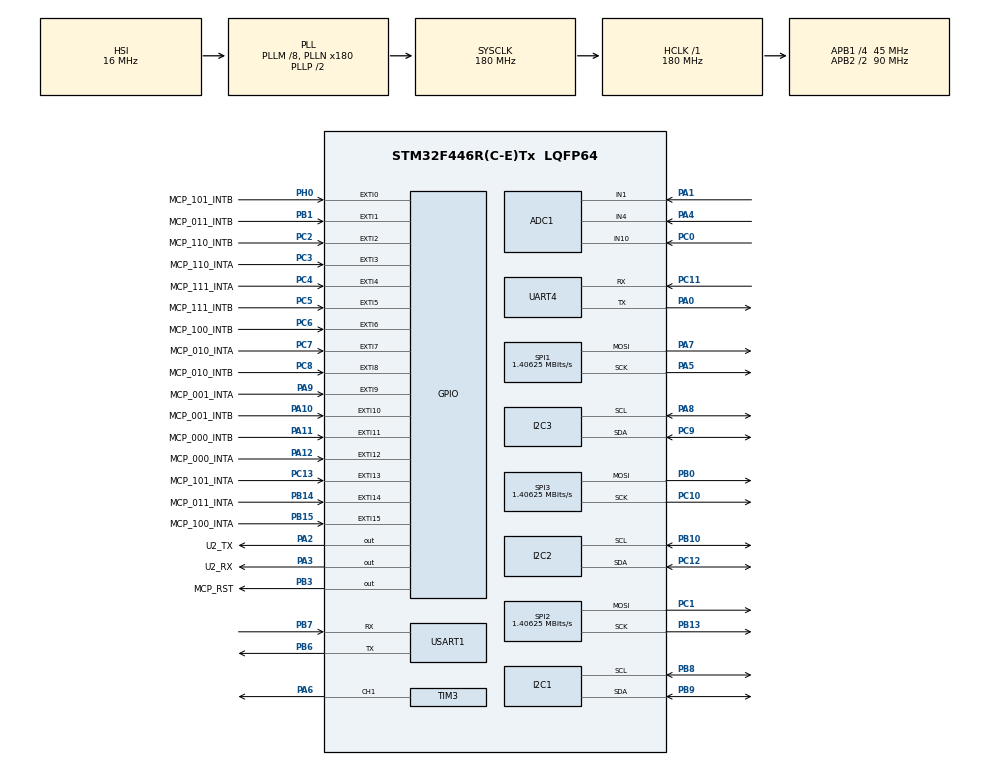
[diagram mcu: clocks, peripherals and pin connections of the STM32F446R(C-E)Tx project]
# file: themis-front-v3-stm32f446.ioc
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ADC1.Channel-2\#ChannelRegularConversion=ADC_CHANNEL_1
ADC1.NbrOfConversionFlag=1
ADC1.Rank-2\#ChannelRegularConversion=1
ADC1.SamplingTime-2\#ChannelRegularConversion=ADC_SAMPLETIME_3CYCLES
ADC1.master=1
Dma.Request0=SPI1_TX
Dma.Request1=SPI2_TX
Dma.Request2=SPI3_TX
Dma.Request3=USART1_TX
Dma.SPI1_TX.0.Direction=DMA_MEMORY_TO_PERIPH
Dma.SPI1_TX.0.FIFOMode=DMA_FIFOMODE_DISABLE
Dma.SPI1_TX.0.Instance=DMA2_Stream3
Dma.SPI1_TX.0.MemDataAlignment=DMA_MDATAALIGN_BYTE
Dma.SPI1_TX.0.MemInc=DMA_MINC_ENABLE
Dma.SPI1_TX.0.Mode=DMA_NORMAL
Dma.SPI1_TX.0.PeriphDataAlignment=DMA_PDATAALIGN_BYTE
Dma.SPI1_TX.0.PeriphInc=DMA_PINC_DISABLE
Dma.SPI1_TX.0.Priority=DMA_PRIORITY_LOW
Dma.SPI2_TX.1.Direction=DMA_MEMORY_TO_PERIPH
Dma.SPI2_TX.1.FIFOMode=DMA_FIFOMODE_DISABLE
Dma.SPI2_TX.1.Instance=DMA1_Stream4
Dma.SPI2_TX.1.MemDataAlignment=DMA_MDATAALIGN_BYTE
Dma.SPI2_TX.1.MemInc=DMA_MINC_ENABLE
Dma.SPI2_TX.1.Mode=DMA_NORMAL
Dma.SPI2_TX.1.PeriphDataAlignment=DMA_PDATAALIGN_BYTE
Dma.SPI2_TX.1.PeriphInc=DMA_PINC_DISABLE
Dma.SPI2_TX.1.Priority=DMA_PRIORITY_LOW
Dma.SPI3_TX.2.Direction=DMA_MEMORY_TO_PERIPH
Dma.SPI3_TX.2.FIFOMode=DMA_FIFOMODE_DISABLE
Dma.SPI3_TX.2.Instance=DMA1_Stream5
Dma.SPI3_TX.2.MemDataAlignment=DMA_MDATAALIGN_BYTE
Dma.SPI3_TX.2.MemInc=DMA_MINC_ENABLE
Dma.SPI3_TX.2.Mode=DMA_NORMAL
Dma.SPI3_TX.2.PeriphDataAlignment=DMA_PDATAALIGN_BYTE
Dma.SPI3_TX.2.PeriphInc=DMA_PINC_DISABLE
Dma.SPI3_TX.2.Priority=DMA_PRIORITY_LOW
Dma.USART1_TX.3.Direction=DMA_MEMORY_TO_PERIPH
Dma.USART1_TX.3.FIFOMode=DMA_FIFOMODE_DISABLE
Dma.USART1_TX.3.Instance=DMA2_Stream7
Dma.USART1_TX.3.MemDataAlignment=DMA_MDATAALIGN_BYTE
Dma.USART1_TX.3.MemInc=DMA_MINC_ENABLE
Dma.USART1_TX.3.Mode=DMA_NORMAL
Dma.USART1_TX.3.PeriphDataAlignment=DMA_PDATAALIGN_BYTE
Dma.USART1_TX.3.PeriphInc=DMA_PINC_DISABLE
Dma.USART1_TX.3.Priority=DMA_PRIORITY_LOW
I2C1.I2C_Mode=I2C_Standard
Mcu.Family=STM32F4
Mcu.Name=STM32F446R(C-E)Tx
Mcu.Package=LQFP64
NVIC.DMA1_Stream4_IRQn=true\:0\:0\:false\:false\:true\:false\:true\:true
NVIC.DMA1_Stream5_IRQn=true\:0\:0\:false\:false\:true\:false\:true\:true
NVIC.DMA2_Stream3_IRQn=true\:0\:0\:false\:false\:true\:false\:true\:true
NVIC.DMA2_Stream7_IRQn=true\:0\:0\:false\:false\:true\:false\:true\:true
NVIC.EXTI0_IRQn=true\:0\:0\:false\:false\:true\:true\:false\:true
NVIC.EXTI15_10_IRQn=true\:0\:0\:false\:false\:true\:true\:false\:true
NVIC.EXTI1_IRQn=true\:0\:0\:false\:false\:true\:true\:false\:true
NVIC.EXTI2_IRQn=true\:0\:0\:false\:false\:true\:true\:false\:true
NVIC.EXTI3_IRQn=true\:0\:0\:false\:false\:true\:true\:false\:true
NVIC.EXTI4_IRQn=true\:0\:0\:false\:false\:true\:true\:false\:true
NVIC.EXTI9_5_IRQn=true\:0\:0\:false\:false\:true\:true\:false\:true
NVIC.PriorityGroup=NVIC_PRIORITYGROUP_4
NVIC.TIM3_IRQn=true\:0\:0\:false\:false\:true\:true\:true\:true
NVIC.UART4_IRQn=true\:0\:0\:false\:false\:true\:true\:true\:true
NVIC.USART1_IRQn=true\:0\:0\:false\:false\:true\:true\:true\:true
PA0-WKUP.Mode=Asynchronous
PA0-WKUP.Signal=UART4_TX
PA1.Signal=ADCx_IN1
PA10.GPIO_Label=MCP_001_INTB
PA10.GPIO_ModeDefaultEXTI=GPIO_MODE_IT_FALLING
PA10.GPIO_PuPd=GPIO_PULLUP
PA10.Signal=GPXTI10
PA11.GPIO_Label=MCP_000_INTB
PA11.GPIO_ModeDefaultEXTI=GPIO_MODE_IT_FALLING
PA11.GPIO_PuPd=GPIO_PULLUP
PA11.Signal=GPXTI11
PA12.GPIO_Label=MCP_000_INTA
PA12.GPIO_ModeDefaultEXTI=GPIO_MODE_IT_FALLING
PA12.GPIO_PuPd=GPIO_PULLUP
PA12.Signal=GPXTI12
PA13.Mode=Serial_Wire
PA13.Signal=SYS_JTMS-SWDIO
PA14.Mode=Serial_Wire
PA14.Signal=SYS_JTCK-SWCLK
PA2.GPIO_Label=U2_TX
PA2.Signal=GPIO_Output
PA3.GPIO_Label=U2_RX
PA3.Signal=GPIO_Output
PA4.Signal=ADCx_IN4
PA5.Mode=TX_Only_Simplex_Unidirect_Master
PA5.Signal=SPI1_SCK
PA6.Signal=S_TIM3_CH1
PA7.Mode=TX_Only_Simplex_Unidirect_Master
PA7.Signal=SPI1_MOSI
PA8.GPIO_Pu=GPIO_PULLUP
PA8.Mode=I2C
PA8.Signal=I2C3_SCL
PA9.GPIO_Label=MCP_001_INTA
PA9.GPIO_ModeDefaultEXTI=GPIO_MODE_IT_FALLING
PA9.GPIO_PuPd=GPIO_PULLUP
PA9.Signal=GPXTI9
PB0.Mode=TX_Only_Simplex_Unidirect_Master
PB0.Signal=SPI3_MOSI
PB1.GPIO_Label=MCP_011_INTB
PB1.GPIO_ModeDefaultEXTI=GPIO_MODE_IT_FALLING
PB1.GPIO_PuPd=GPIO_PULLUP
PB1.Signal=GPXTI1
PB10.GPIO_Pu=GPIO_PULLUP
PB10.Mode=I2C
PB10.Signal=I2C2_SCL
PB13.Mode=TX_Only_Simplex_Unidirect_Master
PB13.Signal=SPI2_SCK
PB14.GPIO_Label=MCP_011_INTA
PB14.GPIO_ModeDefaultEXTI=GPIO_MODE_IT_FALLING
PB14.GPIO_PuPd=GPIO_PULLUP
PB14.Signal=GPXTI14
PB15.GPIO_Label=MCP_100_INTA
PB15.GPIO_ModeDefaultEXTI=GPIO_MODE_IT_FALLING
PB15.GPIO_PuPd=GPIO_PULLUP
PB15.Signal=GPXTI15
PB3.GPIO_Label=MCP_RST
PB3.Signal=GPIO_Output
PB6.Mode=Asynchronous
PB6.Signal=USART1_TX
PB7.Mode=Asynchronous
PB7.Signal=USART1_RX
PB8.GPIO_Pu=GPIO_PULLUP
PB8.Mode=I2C
PB8.Signal=I2C1_SCL
PB9.GPIO_Pu=GPIO_PULLUP
PB9.Mode=I2C
PB9.Signal=I2C1_SDA
PC0.Signal=ADCx_IN10
PC1.Mode=TX_Only_Simplex_Unidirect_Master
PC1.Signal=SPI2_MOSI
PC10.Mode=TX_Only_Simplex_Unidirect_Master
PC10.Signal=SPI3_SCK
PC11.Mode=Asynchronous
PC11.Signal=UART4_RX
PC12.GPIO_Pu=GPIO_PULLUP
PC12.Mode=I2C
PC12.Signal=I2C2_SDA
PC13.GPIO_Label=MCP_101_INTA
PC13.GPIO_ModeDefaultEXTI=GPIO_MODE_IT_FALLING
PC13.GPIO_PuPd=GPIO_PULLUP
PC13.Signal=GPXTI13
PC2.GPIO_Label=MCP_110_INTB
PC2.GPIO_ModeDefaultEXTI=GPIO_MODE_IT_FALLING
PC2.GPIO_PuPd=GPIO_PULLUP
PC2.Signal=GPXTI2
PC3.GPIO_Label=MCP_110_INTA
PC3.GPIO_ModeDefaultEXTI=GPIO_MODE_IT_FALLING
PC3.GPIO_PuPd=GPIO_PULLUP
PC3.Signal=GPXTI3
PC4.GPIO_Label=MCP_111_INTA
PC4.GPIO_ModeDefaultEXTI=GPIO_MODE_IT_FALLING
PC4.GPIO_PuPd=GPIO_PULLUP
PC4.Signal=GPXTI4
PC5.GPIO_Label=MCP_111_INTB
PC5.GPIO_ModeDefaultEXTI=GPIO_MODE_IT_FALLING
PC5.GPIO_PuPd=GPIO_PULLUP
PC5.Signal=GPXTI5
PC6.GPIO_Label=MCP_100_INTB
PC6.GPIO_ModeDefaultEXTI=GPIO_MODE_IT_FALLING
PC6.GPIO_PuPd=GPIO_PULLUP
PC6.Signal=GPXTI6
PC7.GPIO_Label=MCP_010_INTA
PC7.GPIO_ModeDefaultEXTI=GPIO_MODE_IT_FALLING
PC7.GPIO_PuPd=GPIO_PULLUP
PC7.Signal=GPXTI7
PC8.GPIO_Label=MCP_010_INTB
PC8.GPIO_ModeDefaultEXTI=GPIO_MODE_IT_FALLING
PC8.GPIO_PuPd=GPIO_PULLUP
PC8.Signal=GPXTI8
PC9.GPIO_Pu=GPIO_PULLUP
PC9.Mode=I2C
PC9.Signal=I2C3_SDA
PH0-OSC_IN.GPIO_Label=MCP_101_INTB
PH0-OSC_IN.GPIO_ModeDefaultEXTI=GPIO_MODE_IT_FALLING
PH0-OSC_IN.GPIO_PuPd=GPIO_PULLUP
PH0-OSC_IN.Signal=GPXTI0
ProjectManager.HeapSize=0x200
ProjectManager.StackSize=0x400
ProjectManager.TargetToolchain=STM32CubeIDE
RCC.AHBFreq_Value=180000000
RCC.APB1CLKDivider=RCC_HCLK_DIV4
RCC.APB1Freq_Value=45000000
RCC.APB1TimFreq_Value=90000000
RCC.APB2CLKDivider=RCC_HCLK_DIV2
RCC.APB2Freq_Value=90000000
RCC.APB2TimFreq_Value=180000000
RCC.CortexFreq_Value=180000000
RCC.HCLKFreq_Value=180000000
RCC.PLLM=8
RCC.PLLN=180
RCC.SYSCLKFreq_VALUE=180000000
RCC.SYSCLKSource=RCC_SYSCLKSOURCE_PLLCLK
RCC.USBFreq_Value=180000000
RCC.VCOOutputFreq_Value=360000000
SH.ADCx_IN1.0=ADC1_IN1,IN1
SH.ADCx_IN10.0=ADC1_IN10,IN10
SH.ADCx_IN4.0=ADC1_IN4,IN4
SH.S_TIM3_CH1.0=TIM3_CH1,PWM Generation1 CH1
SPI1.BaudRatePrescaler=SPI_BAUDRATEPRESCALER_64
SPI1.CalculateBaudRate=1.40625 MBits/s
SPI1.Direction=SPI_DIRECTION_2LINES
SPI1.Mode=SPI_MODE_MASTER
SPI1.VirtualType=VM_MASTER
SPI2.BaudRatePrescaler=SPI_BAUDRATEPRESCALER_32
SPI2.CalculateBaudRate=1.40625 MBits/s
SPI2.Direction=SPI_DIRECTION_2LINES
SPI2.Mode=SPI_MODE_MASTER
SPI2.VirtualType=VM_MASTER
SPI3.BaudRatePrescaler=SPI_BAUDRATEPRESCALER_32
SPI3.CalculateBaudRate=1.40625 MBits/s
SPI3.Direction=SPI_DIRECTION_2LINES
SPI3.Mode=SPI_MODE_MASTER
SPI3.VirtualType=VM_MASTER
TIM3.Channel-PWM\ Generation1\ CH1=TIM_CHANNEL_1
TIM3.Period=255
TIM3.Prescaler=2343
UART4.VirtualMode=Asynchronous
USART1.VirtualMode=VM_ASYNC
VP_TIM3_VS_ClockSourceINT.Mode=Internal
board=custom

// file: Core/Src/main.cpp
/* USER CODE BEGIN Header */
/**
  ******************************************************************************
  * @file           : main.c
  * @brief          : Main program body
  ******************************************************************************
  * @attention
  *
  * Copyright (c) 2021 STMicroelectronics.
  * All rights reserved.
  *
  * This software is licensed under terms that can be found in the LICENSE file
  * in the root directory of this software component.
  * If no LICENSE file comes with this software, it is provided AS-IS.
  *
  * TODO AFTER CODE REGENERATION: move MX_DMA_Init() on top! (line 140)
  *
  * TODO 27 avril : ajouter les FIFO dans la config du DMA pour les bus SPI
  *
  *
  ******************************************************************************
  */
/* USER CODE END Header */
#include "main.h"

/* USER CODE BEGIN Includes */
#include "stdio.h"
#include "string.h"
#include "front-panel.h"

/* USER CODE END Includes */

ADC_HandleTypeDef hadc1;

I2C_HandleTypeDef hi2c1;
I2C_HandleTypeDef hi2c2;
I2C_HandleTypeDef hi2c3;

SPI_HandleTypeDef hspi1;
SPI_HandleTypeDef hspi2;
SPI_HandleTypeDef hspi3;
DMA_HandleTypeDef hdma_spi1_tx;
DMA_HandleTypeDef hdma_spi2_tx;
DMA_HandleTypeDef hdma_spi3_tx;

TIM_HandleTypeDef htim3;

UART_HandleTypeDef huart4;
UART_HandleTypeDef huart1;
DMA_HandleTypeDef hdma_usart1_tx;

void SystemClock_Config(void);
static void MX_GPIO_Init(void);
static void MX_I2C1_Init(void);
static void MX_I2C2_Init(void);
static void MX_I2C3_Init(void);
static void MX_SPI1_Init(void);
static void MX_TIM3_Init(void);
static void MX_USART1_UART_Init(void);
static void MX_ADC1_Init(void);
static void MX_SPI2_Init(void);
static void MX_SPI3_Init(void);
static void MX_UART4_Init(void);
static void MX_DMA_Init(void);

int main(void)
{

  /* MCU Configuration--------------------------------------------------------*/

  /* Reset of all peripherals, Initializes the Flash interface and the Systick. */
  HAL_Init();

  /* Configure the system clock */
  SystemClock_Config();

  /* USER CODE BEGIN SysInit */

  /*
   * !!! SUPER CRUCIAL : here's the bug fix if DMA not working !!!!
   * For unclear reasons CubeMX generates a buggy code with MX_DMA_Init() at the end
   * So the workaround is simply to edit the code below and move MX_DMA_Init() to the first line
   */

  /* USER CODE END SysInit */

  /* Initialize all configured peripherals */
  MX_DMA_Init();
  MX_GPIO_Init();
  MX_I2C1_Init();
  MX_I2C2_Init();
  MX_I2C3_Init();
  MX_SPI1_Init();
  MX_TIM3_Init();
  MX_USART1_UART_Init();
  MX_ADC1_Init();
  MX_SPI2_Init();
  MX_SPI3_Init();
  MX_UART4_Init();
  /* USER CODE BEGIN 2 */

  HAL_TIM_Base_Start_IT(&htim3); // needed so that HAL_TIM_PeriodElapsedCallback() gets called, see callbacks.c
  HAL_TIM_PWM_Start_IT(&htim3, TIM_CHANNEL_1);
  htim3.Instance->CCR1 = 255;

  init_hardware();
  main_loop();

  /* USER CODE END 2 */

  /* Infinite loop */
  while (1)
  {

    /* USER CODE BEGIN 3 */

	  HAL_Delay(500);
  }
  /* USER CODE END 3 */
}

void SystemClock_Config(void)
{
  RCC_OscInitTypeDef RCC_OscInitStruct = {0};
  RCC_ClkInitTypeDef RCC_ClkInitStruct = {0};

  /** Configure the main internal regulator output voltage
  */
  __HAL_RCC_PWR_CLK_ENABLE();
  __HAL_PWR_VOLTAGESCALING_CONFIG(PWR_REGULATOR_VOLTAGE_SCALE1);

  /** Initializes the RCC Oscillators according to the specified parameters
  * in the RCC_OscInitTypeDef structure.
  */
  RCC_OscInitStruct.OscillatorType = RCC_OSCILLATORTYPE_HSI;
  RCC_OscInitStruct.HSIState = RCC_HSI_ON;
  RCC_OscInitStruct.HSICalibrationValue = RCC_HSICALIBRATION_DEFAULT;
  RCC_OscInitStruct.PLL.PLLState = RCC_PLL_ON;
  RCC_OscInitStruct.PLL.PLLSource = RCC_PLLSOURCE_HSI;
  RCC_OscInitStruct.PLL.PLLM = 8;
  RCC_OscInitStruct.PLL.PLLN = 180;
  RCC_OscInitStruct.PLL.PLLP = RCC_PLLP_DIV2;
  RCC_OscInitStruct.PLL.PLLQ = 2;
  RCC_OscInitStruct.PLL.PLLR = 2;
  if (HAL_RCC_OscConfig(&RCC_OscInitStruct) != HAL_OK)
  {
    Error_Handler();
  }

  /** Activate the Over-Drive mode
  */
  if (HAL_PWREx_EnableOverDrive() != HAL_OK)
  {
    Error_Handler();
  }

  /** Initializes the CPU, AHB and APB buses clocks
  */
  RCC_ClkInitStruct.ClockType = RCC_CLOCKTYPE_HCLK|RCC_CLOCKTYPE_SYSCLK
                              |RCC_CLOCKTYPE_PCLK1|RCC_CLOCKTYPE_PCLK2;
  RCC_ClkInitStruct.SYSCLKSource = RCC_SYSCLKSOURCE_PLLCLK;
  RCC_ClkInitStruct.AHBCLKDivider = RCC_SYSCLK_DIV1;
  RCC_ClkInitStruct.APB1CLKDivider = RCC_HCLK_DIV4;
  RCC_ClkInitStruct.APB2CLKDivider = RCC_HCLK_DIV2;

  if (HAL_RCC_ClockConfig(&RCC_ClkInitStruct, FLASH_LATENCY_5) != HAL_OK)
  {
    Error_Handler();
  }
}

static void MX_ADC1_Init(void)
{

  ADC_ChannelConfTypeDef sConfig = {0};

  /** Configure the global features of the ADC (Clock, Resolution, Data Alignment and number of conversion)
  */
  hadc1.Instance = ADC1;
  hadc1.Init.ClockPrescaler = ADC_CLOCK_SYNC_PCLK_DIV4;
  hadc1.Init.Resolution = ADC_RESOLUTION_12B;
  hadc1.Init.ScanConvMode = DISABLE;
  hadc1.Init.ContinuousConvMode = DISABLE;
  hadc1.Init.DiscontinuousConvMode = DISABLE;
  hadc1.Init.ExternalTrigConvEdge = ADC_EXTERNALTRIGCONVEDGE_NONE;
  hadc1.Init.ExternalTrigConv = ADC_SOFTWARE_START;
  hadc1.Init.DataAlign = ADC_DATAALIGN_RIGHT;
  hadc1.Init.NbrOfConversion = 1;
  hadc1.Init.DMAContinuousRequests = DISABLE;
  hadc1.Init.EOCSelection = ADC_EOC_SINGLE_CONV;
  if (HAL_ADC_Init(&hadc1) != HAL_OK)
  {
    Error_Handler();
  }

  /** Configure for the selected ADC regular channel its corresponding rank in the sequencer and its sample time.
  */
  sConfig.Channel = ADC_CHANNEL_1;
  sConfig.Rank = 1;
  sConfig.SamplingTime = ADC_SAMPLETIME_3CYCLES;
  if (HAL_ADC_ConfigChannel(&hadc1, &sConfig) != HAL_OK)
  {
    Error_Handler();
  }

}

static void MX_I2C1_Init(void)
{

  hi2c1.Instance = I2C1;
  hi2c1.Init.ClockSpeed = 100000;
  hi2c1.Init.DutyCycle = I2C_DUTYCYCLE_2;
  hi2c1.Init.OwnAddress1 = 0;
  hi2c1.Init.AddressingMode = I2C_ADDRESSINGMODE_7BIT;
  hi2c1.Init.DualAddressMode = I2C_DUALADDRESS_DISABLE;
  hi2c1.Init.OwnAddress2 = 0;
  hi2c1.Init.GeneralCallMode = I2C_GENERALCALL_DISABLE;
  hi2c1.Init.NoStretchMode = I2C_NOSTRETCH_DISABLE;
  if (HAL_I2C_Init(&hi2c1) != HAL_OK)
  {
    Error_Handler();
  }

}

static void MX_I2C2_Init(void)
{

  hi2c2.Instance = I2C2;
  hi2c2.Init.ClockSpeed = 100000;
  hi2c2.Init.DutyCycle = I2C_DUTYCYCLE_2;
  hi2c2.Init.OwnAddress1 = 0;
  hi2c2.Init.AddressingMode = I2C_ADDRESSINGMODE_7BIT;
  hi2c2.Init.DualAddressMode = I2C_DUALADDRESS_DISABLE;
  hi2c2.Init.OwnAddress2 = 0;
  hi2c2.Init.GeneralCallMode = I2C_GENERALCALL_DISABLE;
  hi2c2.Init.NoStretchMode = I2C_NOSTRETCH_DISABLE;
  if (HAL_I2C_Init(&hi2c2) != HAL_OK)
  {
    Error_Handler();
  }

}

static void MX_I2C3_Init(void)
{

  hi2c3.Instance = I2C3;
  hi2c3.Init.ClockSpeed = 100000;
  hi2c3.Init.DutyCycle = I2C_DUTYCYCLE_2;
  hi2c3.Init.OwnAddress1 = 0;
  hi2c3.Init.AddressingMode = I2C_ADDRESSINGMODE_7BIT;
  hi2c3.Init.DualAddressMode = I2C_DUALADDRESS_DISABLE;
  hi2c3.Init.OwnAddress2 = 0;
  hi2c3.Init.GeneralCallMode = I2C_GENERALCALL_DISABLE;
  hi2c3.Init.NoStretchMode = I2C_NOSTRETCH_DISABLE;
  if (HAL_I2C_Init(&hi2c3) != HAL_OK)
  {
    Error_Handler();
  }

}

static void MX_SPI1_Init(void)
{

  /* SPI1 parameter configuration*/
  hspi1.Instance = SPI1;
  hspi1.Init.Mode = SPI_MODE_MASTER;
  hspi1.Init.Direction = SPI_DIRECTION_2LINES;
  hspi1.Init.DataSize = SPI_DATASIZE_8BIT;
  hspi1.Init.CLKPolarity = SPI_POLARITY_LOW;
  hspi1.Init.CLKPhase = SPI_PHASE_1EDGE;
  hspi1.Init.NSS = SPI_NSS_SOFT;
  hspi1.Init.BaudRatePrescaler = SPI_BAUDRATEPRESCALER_64;
  hspi1.Init.FirstBit = SPI_FIRSTBIT_MSB;
  hspi1.Init.TIMode = SPI_TIMODE_DISABLE;
  hspi1.Init.CRCCalculation = SPI_CRCCALCULATION_DISABLE;
  hspi1.Init.CRCPolynomial = 10;
  if (HAL_SPI_Init(&hspi1) != HAL_OK)
  {
    Error_Handler();
  }

}

static void MX_SPI2_Init(void)
{

  /* SPI2 parameter configuration*/
  hspi2.Instance = SPI2;
  hspi2.Init.Mode = SPI_MODE_MASTER;
  hspi2.Init.Direction = SPI_DIRECTION_2LINES;
  hspi2.Init.DataSize = SPI_DATASIZE_8BIT;
  hspi2.Init.CLKPolarity = SPI_POLARITY_LOW;
  hspi2.Init.CLKPhase = SPI_PHASE_1EDGE;
  hspi2.Init.NSS = SPI_NSS_SOFT;
  hspi2.Init.BaudRatePrescaler = SPI_BAUDRATEPRESCALER_32;
  hspi2.Init.FirstBit = SPI_FIRSTBIT_MSB;
  hspi2.Init.TIMode = SPI_TIMODE_DISABLE;
  hspi2.Init.CRCCalculation = SPI_CRCCALCULATION_DISABLE;
  hspi2.Init.CRCPolynomial = 10;
  if (HAL_SPI_Init(&hspi2) != HAL_OK)
  {
    Error_Handler();
  }

}

static void MX_SPI3_Init(void)
{

  /* SPI3 parameter configuration*/
  hspi3.Instance = SPI3;
  hspi3.Init.Mode = SPI_MODE_MASTER;
  hspi3.Init.Direction = SPI_DIRECTION_2LINES;
  hspi3.Init.DataSize = SPI_DATASIZE_8BIT;
  hspi3.Init.CLKPolarity = SPI_POLARITY_LOW;
  hspi3.Init.CLKPhase = SPI_PHASE_1EDGE;
  hspi3.Init.NSS = SPI_NSS_SOFT;
  hspi3.Init.BaudRatePrescaler = SPI_BAUDRATEPRESCALER_32;
  hspi3.Init.FirstBit = SPI_FIRSTBIT_MSB;
  hspi3.Init.TIMode = SPI_TIMODE_DISABLE;
  hspi3.Init.CRCCalculation = SPI_CRCCALCULATION_DISABLE;
  hspi3.Init.CRCPolynomial = 10;
  if (HAL_SPI_Init(&hspi3) != HAL_OK)
  {
    Error_Handler();
  }

}

static void MX_TIM3_Init(void)
{

  TIM_ClockConfigTypeDef sClockSourceConfig = {0};
  TIM_MasterConfigTypeDef sMasterConfig = {0};
  TIM_OC_InitTypeDef sConfigOC = {0};

  htim3.Instance = TIM3;
  htim3.Init.Prescaler = 2343;
  htim3.Init.CounterMode = TIM_COUNTERMODE_UP;
  htim3.Init.Period = 255;
  htim3.Init.ClockDivision = TIM_CLOCKDIVISION_DIV1;
  htim3.Init.AutoReloadPreload = TIM_AUTORELOAD_PRELOAD_DISABLE;
  if (HAL_TIM_Base_Init(&htim3) != HAL_OK)
  {
    Error_Handler();
  }
  sClockSourceConfig.ClockSource = TIM_CLOCKSOURCE_INTERNAL;
  if (HAL_TIM_ConfigClockSource(&htim3, &sClockSourceConfig) != HAL_OK)
  {
    Error_Handler();
  }
  if (HAL_TIM_PWM_Init(&htim3) != HAL_OK)
  {
    Error_Handler();
  }
  sMasterConfig.MasterOutputTrigger = TIM_TRGO_RESET;
  sMasterConfig.MasterSlaveMode = TIM_MASTERSLAVEMODE_DISABLE;
  if (HAL_TIMEx_MasterConfigSynchronization(&htim3, &sMasterConfig) != HAL_OK)
  {
    Error_Handler();
  }
  sConfigOC.OCMode = TIM_OCMODE_PWM1;
  sConfigOC.Pulse = 0;
  sConfigOC.OCPolarity = TIM_OCPOLARITY_HIGH;
  sConfigOC.OCFastMode = TIM_OCFAST_DISABLE;
  if (HAL_TIM_PWM_ConfigChannel(&htim3, &sConfigOC, TIM_CHANNEL_1) != HAL_OK)
  {
    Error_Handler();
  }
  HAL_TIM_MspPostInit(&htim3);

}

static void MX_UART4_Init(void)
{

  huart4.Instance = UART4;
  huart4.Init.BaudRate = 115200;
  huart4.Init.WordLength = UART_WORDLENGTH_8B;
  huart4.Init.StopBits = UART_STOPBITS_1;
  huart4.Init.Parity = UART_PARITY_NONE;
  huart4.Init.Mode = UART_MODE_TX_RX;
  huart4.Init.HwFlowCtl = UART_HWCONTROL_NONE;
  huart4.Init.OverSampling = UART_OVERSAMPLING_16;
  if (HAL_UART_Init(&huart4) != HAL_OK)
  {
    Error_Handler();
  }

}

static void MX_USART1_UART_Init(void)
{

  huart1.Instance = USART1;
  huart1.Init.BaudRate = 115200;
  huart1.Init.WordLength = UART_WORDLENGTH_8B;
  huart1.Init.StopBits = UART_STOPBITS_1;
  huart1.Init.Parity = UART_PARITY_NONE;
  huart1.Init.Mode = UART_MODE_TX_RX;
  huart1.Init.HwFlowCtl = UART_HWCONTROL_NONE;
  huart1.Init.OverSampling = UART_OVERSAMPLING_16;
  if (HAL_UART_Init(&huart1) != HAL_OK)
  {
    Error_Handler();
  }

}

static void MX_DMA_Init(void)
{

  /* DMA controller clock enable */
  __HAL_RCC_DMA2_CLK_ENABLE();
  __HAL_RCC_DMA1_CLK_ENABLE();

  /* DMA interrupt init */
  /* DMA1_Stream4_IRQn interrupt configuration */
  HAL_NVIC_SetPriority(DMA1_Stream4_IRQn, 0, 0);
  HAL_NVIC_EnableIRQ(DMA1_Stream4_IRQn);
  /* DMA1_Stream5_IRQn interrupt configuration */
  HAL_NVIC_SetPriority(DMA1_Stream5_IRQn, 0, 0);
  HAL_NVIC_EnableIRQ(DMA1_Stream5_IRQn);
  /* DMA2_Stream3_IRQn interrupt configuration */
  HAL_NVIC_SetPriority(DMA2_Stream3_IRQn, 0, 0);
  HAL_NVIC_EnableIRQ(DMA2_Stream3_IRQn);
  /* DMA2_Stream7_IRQn interrupt configuration */
  HAL_NVIC_SetPriority(DMA2_Stream7_IRQn, 0, 0);
  HAL_NVIC_EnableIRQ(DMA2_Stream7_IRQn);

}

static void MX_GPIO_Init(void)
{
  GPIO_InitTypeDef GPIO_InitStruct = {0};

  /* GPIO Ports Clock Enable */
  __HAL_RCC_GPIOC_CLK_ENABLE();
  __HAL_RCC_GPIOH_CLK_ENABLE();
  __HAL_RCC_GPIOA_CLK_ENABLE();
  __HAL_RCC_GPIOB_CLK_ENABLE();

  /*Configure GPIO pin Output Level */
  HAL_GPIO_WritePin(GPIOA, U2_TX_Pin|U2_RX_Pin, GPIO_PIN_RESET);

  /*Configure GPIO pin Output Level */
  HAL_GPIO_WritePin(MCP_RST_GPIO_Port, MCP_RST_Pin, GPIO_PIN_RESET);

  /*Configure GPIO pins : MCP_101_INTA_Pin MCP_110_INTB_Pin MCP_110_INTA_Pin MCP_111_INTA_Pin
                           MCP_111_INTB_Pin MCP_100_INTB_Pin MCP_010_INTA_Pin MCP_010_INTB_Pin */
  GPIO_InitStruct.Pin = MCP_101_INTA_Pin|MCP_110_INTB_Pin|MCP_110_INTA_Pin|MCP_111_INTA_Pin
                          |MCP_111_INTB_Pin|MCP_100_INTB_Pin|MCP_010_INTA_Pin|MCP_010_INTB_Pin;
  GPIO_InitStruct.Mode = GPIO_MODE_IT_FALLING;
  GPIO_InitStruct.Pull = GPIO_PULLUP;
  HAL_GPIO_Init(GPIOC, &GPIO_InitStruct);

  /*Configure GPIO pin : MCP_101_INTB_Pin */
  GPIO_InitStruct.Pin = MCP_101_INTB_Pin;
  GPIO_InitStruct.Mode = GPIO_MODE_IT_FALLING;
  GPIO_InitStruct.Pull = GPIO_PULLUP;
  HAL_GPIO_Init(MCP_101_INTB_GPIO_Port, &GPIO_InitStruct);

  /*Configure GPIO pins : U2_TX_Pin U2_RX_Pin */
  GPIO_InitStruct.Pin = U2_TX_Pin|U2_RX_Pin;
  GPIO_InitStruct.Mode = GPIO_MODE_OUTPUT_PP;
  GPIO_InitStruct.Pull = GPIO_NOPULL;
  GPIO_InitStruct.Speed = GPIO_SPEED_FREQ_LOW;
  HAL_GPIO_Init(GPIOA, &GPIO_InitStruct);

  /*Configure GPIO pins : MCP_011_INTB_Pin MCP_011_INTA_Pin MCP_100_INTA_Pin */
  GPIO_InitStruct.Pin = MCP_011_INTB_Pin|MCP_011_INTA_Pin|MCP_100_INTA_Pin;
  GPIO_InitStruct.Mode = GPIO_MODE_IT_FALLING;
  GPIO_InitStruct.Pull = GPIO_PULLUP;
  HAL_GPIO_Init(GPIOB, &GPIO_InitStruct);

  /*Configure GPIO pins : MCP_001_INTA_Pin MCP_001_INTB_Pin MCP_000_INTB_Pin MCP_000_INTA_Pin */
  GPIO_InitStruct.Pin = MCP_001_INTA_Pin|MCP_001_INTB_Pin|MCP_000_INTB_Pin|MCP_000_INTA_Pin;
  GPIO_InitStruct.Mode = GPIO_MODE_IT_FALLING;
  GPIO_InitStruct.Pull = GPIO_PULLUP;
  HAL_GPIO_Init(GPIOA, &GPIO_InitStruct);

  /*Configure GPIO pin : MCP_RST_Pin */
  GPIO_InitStruct.Pin = MCP_RST_Pin;
  GPIO_InitStruct.Mode = GPIO_MODE_OUTPUT_PP;
  GPIO_InitStruct.Pull = GPIO_NOPULL;
  GPIO_InitStruct.Speed = GPIO_SPEED_FREQ_LOW;
  HAL_GPIO_Init(MCP_RST_GPIO_Port, &GPIO_InitStruct);

  /* EXTI interrupt init*/
  HAL_NVIC_SetPriority(EXTI0_IRQn, 0, 0);
  HAL_NVIC_EnableIRQ(EXTI0_IRQn);

  HAL_NVIC_SetPriority(EXTI1_IRQn, 0, 0);
  HAL_NVIC_EnableIRQ(EXTI1_IRQn);

  HAL_NVIC_SetPriority(EXTI2_IRQn, 0, 0);
  HAL_NVIC_EnableIRQ(EXTI2_IRQn);

  HAL_NVIC_SetPriority(EXTI3_IRQn, 0, 0);
  HAL_NVIC_EnableIRQ(EXTI3_IRQn);

  HAL_NVIC_SetPriority(EXTI4_IRQn, 0, 0);
  HAL_NVIC_EnableIRQ(EXTI4_IRQn);

  HAL_NVIC_SetPriority(EXTI9_5_IRQn, 0, 0);
  HAL_NVIC_EnableIRQ(EXTI9_5_IRQn);

  HAL_NVIC_SetPriority(EXTI15_10_IRQn, 0, 0);
  HAL_NVIC_EnableIRQ(EXTI15_10_IRQn);

}

/* USER CODE BEGIN 4 */

void HAL_SPI_TxCpltCallback(SPI_HandleTypeDef *hspi){

	HAL_GPIO_TogglePin(GPIOA, U2_TX_Pin);
}

void HAL_SPI_TxHalfCpltCallback(SPI_HandleTypeDef *hspi){

	//HAL_GPIO_WritePin(GPIOA, U2_TX_Pin, GPIO_PIN_RESET);
	printf("HAL_SPI_TxHalfCpltCallback !\n");
}

void HAL_SPI_ErrorCallback(SPI_HandleTypeDef *hspi){

	printf("HAL_SPI_ErrorCallback !\n");
}

/* USER CODE END 4 */

void Error_Handler(void)
{
  /* USER CODE BEGIN Error_Handler_Debug */
  /* User can add his own implementation to report the HAL error return state */
	printf("Error_Handler!\n");
	__disable_irq();
	while (1)
	{
		__NOP();
	}
  /* USER CODE END Error_Handler_Debug */
}
